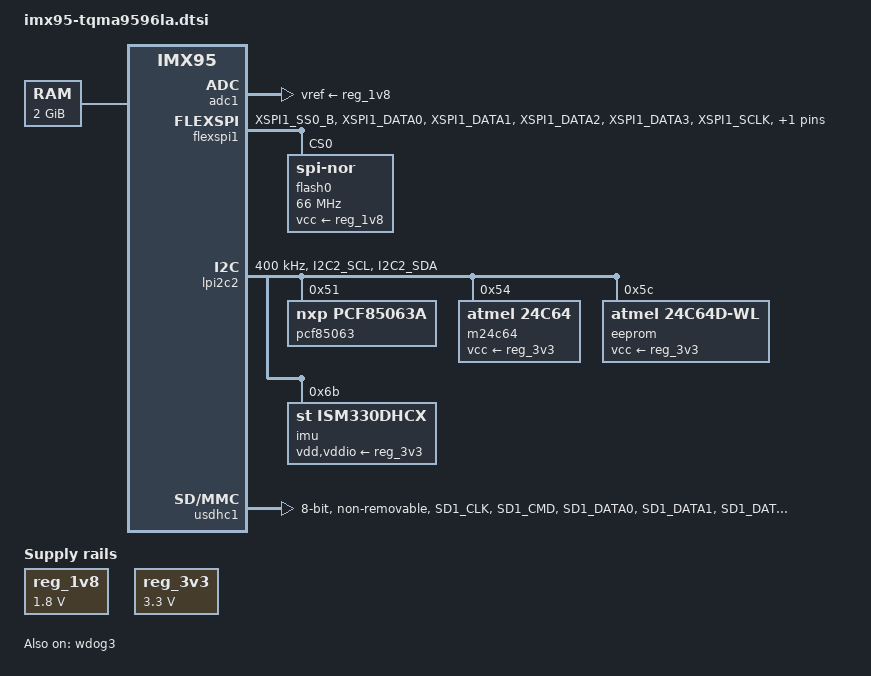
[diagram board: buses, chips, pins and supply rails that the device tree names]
// SPDX-License-Identifier: (GPL-2.0-or-later OR MIT)
/*
 * Copyright (c) 2024-2026 TQ-Systems GmbH <linux@ew.tq-group.com>,
 * D-82229 Seefeld, Germany.
 * Author: Alexander Stein
 * Author: Markus Niebel
 */

/dts-v1/;

#include <dt-bindings/gpio/gpio.h>
#include "imx95.dtsi"

/ {
	memory@80000000 {
		device_type = "memory";
		/*
		 * DRAM base addr, size : 2048 MiB DRAM
		 * should be corrected by bootloader
		 */
		reg = <0 0x80000000 0 0x80000000>;
	};

	reg_1v8: regulator-1v8 {
		compatible = "regulator-fixed";
		regulator-name = "V_1V8";
		regulator-min-microvolt = <1800000>;
		regulator-max-microvolt = <1800000>;
		regulator-always-on;
	};

	reg_3v3: regulator-3v3 {
		compatible = "regulator-fixed";
		regulator-name = "V_3V3";
		regulator-min-microvolt = <3300000>;
		regulator-max-microvolt = <3300000>;
		regulator-always-on;
	};

	reg_sdvmmc: regulator-sdvmmc {
		compatible = "regulator-fixed";
		pinctrl-names = "default";
		pinctrl-0 = <&pinctrl_sdvmmc>;
		regulator-name = "SD_PWR_EN";
		regulator-min-microvolt = <3300000>;
		regulator-max-microvolt = <3300000>;
		gpio = <&gpio3 7 GPIO_ACTIVE_HIGH>;
		off-on-delay-us = <12000>;
		enable-active-high;
		/* can be enabled by mainboard with SD-Card support */
		status = "disabled";
	};
};

&adc1 {
	vref-supply = <&reg_1v8>;
};

&flexspi1 {
	pinctrl-names = "default";
	pinctrl-0 = <&pinctrl_flexspi1>;
	status = "okay";

	flash0: flash@0 {
		compatible = "jedec,spi-nor";
		reg = <0>;
		spi-max-frequency = <66000000>;
		spi-tx-bus-width = <4>;
		spi-rx-bus-width = <4>;
		vcc-supply = <&reg_1v8>;

		partitions {
			compatible = "fixed-partitions";
			#address-cells = <1>;
			#size-cells = <1>;
		};
	};
};

/* System Manager */
&gpio1 {
	status = "reserved";
};

/* System Manager */
&lpi2c1 {
	status = "reserved";
};

&lpi2c2 {
	clock-frequency = <400000>;
	pinctrl-names = "default";
	pinctrl-0 = <&pinctrl_lpi2c2>;
	status = "okay";

	pcf85063: rtc@51 {
		compatible = "nxp,pcf85063a";
		reg = <0x51>;
		quartz-load-femtofarads = <7000>;
	};

	m24c64: eeprom@54 {
		compatible = "atmel,24c64";
		reg = <0x54>;
		pagesize = <32>;
		vcc-supply = <&reg_3v3>;
	};

	/* protectable identification memory (part of M24C64-D @54) */
	eeprom@5c {
		compatible = "atmel,24c64d-wl";
		reg = <0x5c>;
		pagesize = <32>;
		vcc-supply = <&reg_3v3>;
	};

	imu@6b {
		compatible = "st,ism330dhcx";
		reg = <0x6b>;
		vdd-supply = <&reg_3v3>;
		vddio-supply = <&reg_3v3>;
	};
};

&thermal_zones {
	pf09-thermal {
		polling-delay = <2000>;
		polling-delay-passive = <250>;
		thermal-sensors = <&scmi_sensor 2>;

		trips {
			pf09_alert: trip0 {
				hysteresis = <2000>;
				temperature = <140000>;
				type = "passive";
			};

			pf09_crit: trip1 {
				hysteresis = <2000>;
				temperature = <155000>;
				type = "critical";
			};
		};
	};

	pf53arm-thermal {
		polling-delay = <2000>;
		polling-delay-passive = <250>;
		thermal-sensors = <&scmi_sensor 4>;

		cooling-maps {
			map0 {
				trip = <&pf5301_alert>;
				cooling-device =
					<&A55_0 THERMAL_NO_LIMIT THERMAL_NO_LIMIT>,
					<&A55_1 THERMAL_NO_LIMIT THERMAL_NO_LIMIT>,
					<&A55_2 THERMAL_NO_LIMIT THERMAL_NO_LIMIT>,
					<&A55_3 THERMAL_NO_LIMIT THERMAL_NO_LIMIT>,
					<&A55_4 THERMAL_NO_LIMIT THERMAL_NO_LIMIT>,
					<&A55_5 THERMAL_NO_LIMIT THERMAL_NO_LIMIT>;
			};
		};

		trips {
			pf5301_alert: trip0 {
				hysteresis = <2000>;
				temperature = <140000>;
				type = "passive";
			};

			pf5301_crit: trip1 {
				hysteresis = <2000>;
				temperature = <155000>;
				type = "critical";
			};
		};
	};

	pf53soc-thermal {
		polling-delay = <2000>;
		polling-delay-passive = <250>;
		thermal-sensors = <&scmi_sensor 3>;

		trips {
			pf5302_alert: trip0 {
				hysteresis = <2000>;
				temperature = <140000>;
				type = "passive";
			};

			pf5302_crit: trip1 {
				hysteresis = <2000>;
				temperature = <155000>;
				type = "critical";
			};
		};
	};
};

&usdhc1 {
	pinctrl-names = "default", "state_100mhz", "state_200mhz";
	pinctrl-0 = <&pinctrl_usdhc1>;
	pinctrl-1 = <&pinctrl_usdhc1_100mhz>;
	pinctrl-2 = <&pinctrl_usdhc1_200mhz>;
	bus-width = <8>;
	non-removable;
	no-sdio;
	no-sd;
	status = "okay";
};

&wdog3 {
	status = "okay";
};

&scmi_iomuxc {
	pinctrl_flexspi1: flexspi1grp {
		fsl,pins = <IMX95_PAD_XSPI1_SS0_B__FLEXSPI1_A_SS0_B	0x19e>,
			   <IMX95_PAD_XSPI1_DATA0__FLEXSPI1_A_DATA_BIT0	0x19e>,
			   <IMX95_PAD_XSPI1_DATA1__FLEXSPI1_A_DATA_BIT1	0x19e>,
			   <IMX95_PAD_XSPI1_DATA2__FLEXSPI1_A_DATA_BIT2	0x19e>,
			   <IMX95_PAD_XSPI1_DATA3__FLEXSPI1_A_DATA_BIT3	0x19e>,
			   /* SION to allow clock loopback from pad */
			   <IMX95_PAD_XSPI1_SCLK__FLEXSPI1_A_SCLK	0x4000019e>,
			   <IMX95_PAD_XSPI1_DQS__FLEXSPI1_A_DQS		0x4000019e>;
	};

	pinctrl_lpi2c2: lpi2c2grp {
		fsl,pins = <IMX95_PAD_I2C2_SCL__AONMIX_TOP_LPI2C2_SCL	0x4000191e>,
			   <IMX95_PAD_I2C2_SDA__AONMIX_TOP_LPI2C2_SDA	0x4000191e>;
	};

	pinctrl_sdvmmc: sdvmmcgrp {
		fsl,pins = <IMX95_PAD_SD2_RESET_B__GPIO3_IO_BIT7	0x11e>;
	};

	pinctrl_usdhc1: usdhc1grp {
		fsl,pins = <IMX95_PAD_SD1_CLK__USDHC1_CLK	0x158e>,
			   <IMX95_PAD_SD1_CMD__USDHC1_CMD	0x138e>,
			   <IMX95_PAD_SD1_DATA0__USDHC1_DATA0	0x138e>,
			   <IMX95_PAD_SD1_DATA1__USDHC1_DATA1	0x138e>,
			   <IMX95_PAD_SD1_DATA2__USDHC1_DATA2	0x138e>,
			   <IMX95_PAD_SD1_DATA3__USDHC1_DATA3	0x138e>,
			   <IMX95_PAD_SD1_DATA4__USDHC1_DATA4	0x138e>,
			   <IMX95_PAD_SD1_DATA5__USDHC1_DATA5	0x138e>,
			   <IMX95_PAD_SD1_DATA6__USDHC1_DATA6	0x138e>,
			   <IMX95_PAD_SD1_DATA7__USDHC1_DATA7	0x138e>,
			   <IMX95_PAD_SD1_STROBE__USDHC1_STROBE	0x158e>;
	};

	pinctrl_usdhc1_100mhz: usdhc1-100mhzgrp {
		fsl,pins = <IMX95_PAD_SD1_CLK__USDHC1_CLK	0x158e>,
			   <IMX95_PAD_SD1_CMD__USDHC1_CMD	0x138e>,
			   <IMX95_PAD_SD1_DATA0__USDHC1_DATA0	0x138e>,
			   <IMX95_PAD_SD1_DATA1__USDHC1_DATA1	0x138e>,
			   <IMX95_PAD_SD1_DATA2__USDHC1_DATA2	0x138e>,
			   <IMX95_PAD_SD1_DATA3__USDHC1_DATA3	0x138e>,
			   <IMX95_PAD_SD1_DATA4__USDHC1_DATA4	0x138e>,
			   <IMX95_PAD_SD1_DATA5__USDHC1_DATA5	0x138e>,
			   <IMX95_PAD_SD1_DATA6__USDHC1_DATA6	0x138e>,
			   <IMX95_PAD_SD1_DATA7__USDHC1_DATA7	0x138e>,
			   <IMX95_PAD_SD1_STROBE__USDHC1_STROBE	0x158e>;
	};

	pinctrl_usdhc1_200mhz: usdhc1-200mhzgrp {
		fsl,pins = <IMX95_PAD_SD1_CLK__USDHC1_CLK	0x15fe>,
			   <IMX95_PAD_SD1_CMD__USDHC1_CMD	0x13fe>,
			   <IMX95_PAD_SD1_DATA0__USDHC1_DATA0	0x13fe>,
			   <IMX95_PAD_SD1_DATA1__USDHC1_DATA1	0x13fe>,
			   <IMX95_PAD_SD1_DATA2__USDHC1_DATA2	0x13fe>,
			   <IMX95_PAD_SD1_DATA3__USDHC1_DATA3	0x13fe>,
			   <IMX95_PAD_SD1_DATA4__USDHC1_DATA4	0x13fe>,
			   <IMX95_PAD_SD1_DATA5__USDHC1_DATA5	0x13fe>,
			   <IMX95_PAD_SD1_DATA6__USDHC1_DATA6	0x13fe>,
			   <IMX95_PAD_SD1_DATA7__USDHC1_DATA7	0x13fe>,
			   <IMX95_PAD_SD1_STROBE__USDHC1_STROBE	0x15fe>;
	};
};
